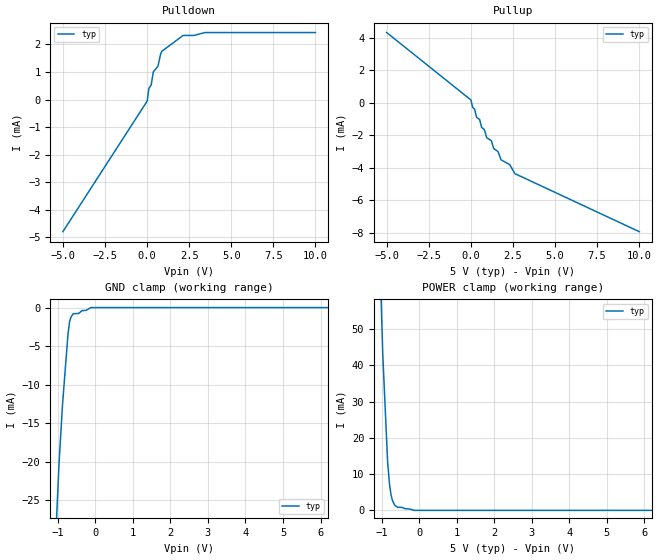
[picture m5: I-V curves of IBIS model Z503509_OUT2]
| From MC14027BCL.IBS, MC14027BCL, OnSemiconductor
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| (C) COPYRIGHT 1993-2000
| MENTOR GRAPHICS CORPORATION
| ICX STANDARD LIBRARY, ICX PROJECT MODELING,
| ICX CUSTOM MODELING, ICX VENDOR MODEL
| ALL RIGHTS RESERVED.
| THE FOLLOWING ARE TRADEMARKS OR SERVICE MARKS OF
| MENTOR GRAPHICS CORPORATION:ICX (R), ICX STANDARD
| LIBRARY(R), ICX PROJECT MODELING(R), ICX CUSTOM
| MODELING(R), qualityIBIS(TM), MODELVIEWER(TM),
| AND MODELEDITOR(TM)
| ALL COPIES OF SOFTWARE, INCLUDING BUT NOT LIMITED TO
| ANY MODIFICATIONS, ENHANCEMENTS OR DERIVATIVE WORKS,
| MUST CONTAIN ALL MENTOR GRAPHICS CORPORATION'S
| NOTICES AND LEGENDS, INCLUDING THOSE EMBEDDED IN
| SOFTWARE AND THOSE AFFIXED TO SOFTWARE MEDIUM
| AND CONTAINER, AS RECEIVED FROM MENTOR GRAPHICS
| CORPORATION.
| Model Application Version 1.89 2/18/99.
[Model] Z503509_OUT2
Model_type Output
Vref=0.000V
Rref=500.0Mohms
Cref=50.00pF
Vmeas=2.500V
C_comp 8.000pF NA NA
| variable typ   min   max
[Voltage Range] 5.000V NA NA
[POWER Clamp Reference] 5.000V NA NA
[Pullup Reference] 5.000V NA NA
[Pulldown Reference] 0.000V NA NA
[GND Clamp Reference] 0.000V NA NA
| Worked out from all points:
|   slope of the pulldown table from 0 to 0.75 V, typ, clamps not added: 481 ohm
|   slope of the pullup table from 0 to 0.75 V, typ, clamps not added: 422 ohm
|   GND clamp passes 1 mA (typ) near -0.62 V on its own axis
|   POWER clamp passes 1 mA (typ) near -0.59 V on its own axis
[GND Clamp]
-5V       -552.1mA   NA         NA
-1.128V   -37.73mA   NA         NA
-966.8mV  -20.23mA   NA         NA
-873.3mV  -12.53mA   NA         NA
-727.5mV  -3.432mA   NA         NA
-683.7mV  -1.78mA    NA         NA
-644.7mV  -1.192mA   NA         NA
-588.1mV  -793.1uA   NA         NA
-449.2mV  -771.3uA   NA         NA
-351.4mV  -385.4uA   NA         NA
-124.4mV  0A         NA         NA
10V       0A         NA         NA
[Pulldown]
-5V       -4.788mA   NA         NA
9.346mV   -53.27uA   NA         NA
107.2mV   403.7uA    NA         NA
245.9mV   532uA      NA         NA
369.8mV   1.002mA    NA         NA
644.5mV   1.203mA    NA         NA
805.7mV   1.652mA    NA         NA
864.3mV   1.742mA    NA         NA
2.139V    2.323mA    NA         NA
2.787V    2.323mA    NA         NA
3.435V    2.428mA    NA         NA
10V       2.428mA    NA         NA
[Pullup]
-5V       4.328mA    NA         NA
5mV       177.6uA    NA         NA
343mV     -891uA     NA         NA
523mV     -1.026mA   NA         NA
942mV     -2.14mA    NA         NA
1.22V     -2.328mA   NA         NA
1.359V    -2.808mA   NA         NA
1.617V    -3.003mA   NA         NA
1.797V    -3.505mA   NA         NA
2.314V    -3.806mA   NA         NA
2.615V    -4.354mA   NA         NA
10V       -7.925mA   NA         NA
[POWER Clamp]
-5V       1.79A      NA         NA
-1.112V   93.89mA    NA         NA
-967mV    43.07mA    NA         NA
-839mV    13.6mA     NA         NA
-786mV    7.056mA    NA         NA
-747mV    4.289mA    NA         NA
-708mV    2.677mA    NA         NA
-652mV    1.459mA    NA         NA
-576mV    854.6uA    NA         NA
-454mV    813.8uA    NA         NA
-127mV    0A         NA         NA
10V       0A         NA         NA
[Ramp]
| variable typ min max
dV/dt_r 2.502/54.68n NA NA
dV/dt_f 2.502/83.45n NA NA
R_load = 2.500kOhms
